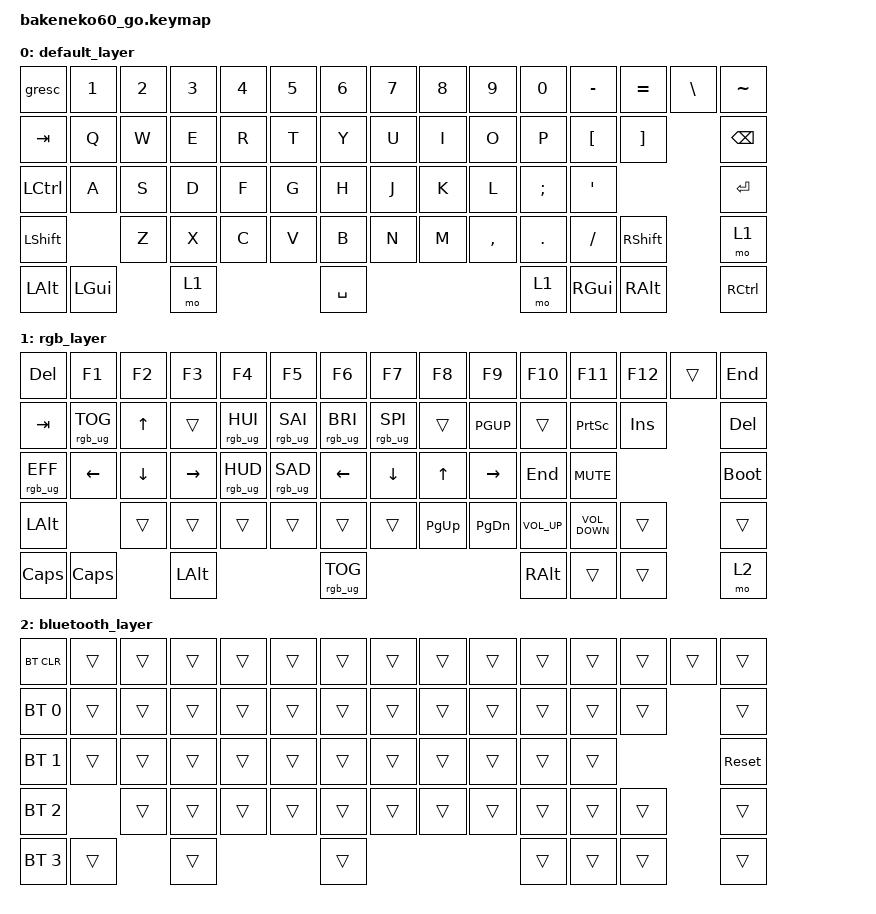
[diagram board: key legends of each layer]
/*
 * Copyright (c) 2023 Andrew Kannan
 *
 * SPDX-License-Identifier: MIT
 */

#include <behaviors.dtsi>
#include <dt-bindings/zmk/bt.h>
#include <dt-bindings/zmk/keys.h>
#include <dt-bindings/zmk/rgb.h>

/ {
    keymap {
        compatible = "zmk,keymap";

        default_layer {
            // ------------------------------------------------------------------------------------------
            // | ESC |  1  |  2  |  3  |  4  |  5  |  6  |  7  |  8  |  9  |  0  |  -  |  =  | BKSP|BKSP|
            // | TAB  |  Q  |  W  |  E  |  R  |  T  |  Y  |  U  |  I  |  O  |  P  |  [  |  ]  |   "|"   |
            // | CAPS  |  A  |  S  |  D  |  F  |  G  |  H  |  J  |  K  |  L  |  ;  |  '  |     ENTER    |
            // |  SHIFT  |  Z  |  X  |  C  |  V  |  B  |  N  |  M  |  ,  |  .  |  /  |  SHIFT  | MO(1)  |
            // |  CTL  |  WIN  |  ALT  |            SPACE              |  ALT  |  WIN  |  MO(1) |  CTL  |
            // ------------------------------------------------------------------------------------------

            bindings = <
&gresc        &kp N1    &kp N2  &kp N3  &kp N4  &kp N5  &kp N6     &kp N7  &kp N8  &kp N9     &kp N0    &kp MINUS  &kp EQUAL      &kp BACKSLASH  &kp TILDE
&kp TAB       &kp Q     &kp W   &kp E   &kp R   &kp T   &kp Y      &kp U   &kp I   &kp O      &kp P     &kp LBKT   &kp RBKT                      &kp BACKSPACE
&kp LCTRL     &kp A     &kp S   &kp D   &kp F   &kp G   &kp H      &kp J   &kp K   &kp L      &kp SEMI  &kp SQT                                  &kp RET
&kp LSHFT               &kp Z   &kp X   &kp C   &kp V   &kp B      &kp N   &kp M   &kp COMMA  &kp DOT   &kp FSLH   &kp RSHFT                     &mo 1
&kp LEFT_ALT  &kp LGUI          &mo 1                   &kp SPACE                             &mo 1     &kp RGUI   &kp RIGHT_ALT                 &kp RCTRL
            >;
        };

        rgb_layer {
            // ------------------------------------------------------------------------------------------------
            // |    `   | F1  | F2  | F3  | F4  | F5  | F6  | F7  | F8  | F9  | F10  | F11 | F12 |     | DEL  |
            // | EFCT REV|   |  UP |   | HUEUP | SATUP | BRIUP | SPDUP |      |  PGUP |    |     |    |       |
            // | EFCT FWD | LT |  DN  | RT | HUEDN | SATDN | BRIDN | SPDDN | HOME | PGDN | END  |  | BOOTLDR  |
            // |             |     |      |      |     |     |     |     |     |     |     |         |        |
            // |         |      |      |             TOG RGB                | PRT SCR |       |       |  MO(2)|
            // ------------------------------------------------------------------------------------------------

            bindings = <
&kp DELETE       &kp F1           &kp F2    &kp F3        &kp F4           &kp F5           &kp F6           &kp F7           &kp F8        &kp F9         &kp F10          &kp F11            &kp F12     &trans  &kp END
&kp TAB          &rgb_ug RGB_TOG  &kp UP    &trans        &rgb_ug RGB_HUI  &rgb_ug RGB_SAI  &rgb_ug RGB_BRI  &rgb_ug RGB_SPI  &trans        &kp PGUP       &trans           &kp PRINTSCREEN    &kp INSERT          &kp DELETE
&rgb_ug RGB_EFF  &kp LEFT         &kp DOWN  &kp RIGHT     &rgb_ug RGB_HUD  &rgb_ug RGB_SAD  &kp LEFT_ARROW   &kp DOWN_ARROW   &kp UP_ARROW  &kp RIGHT      &kp END          &kp K_MUTE                             &bootloader
&kp LEFT_ALT                      &trans    &trans        &trans           &trans           &trans           &trans           &kp PAGE_UP   &kp PAGE_DOWN  &kp C_VOLUME_UP  &kp C_VOLUME_DOWN  &trans              &trans
&kp CAPS         &kp CAPSLOCK               &kp LEFT_ALT                                    &rgb_ug RGB_TOG                                                &kp RIGHT_ALT    &trans             &trans              &mo 2
            >;
        };

        bluetooth_layer {
            // ------------------------------------------------------------------------------------------------
            // | BT CLR |     |     |     |     |     |     |     |     |     |     |    |    |       |       |
            // |  BT 1   |   |     |   |       |       |       |       |   |     |    |     |     |           |
            // |   BT 2   |    |      |    |       |       |       |       |      |      |      |  |   Reset  |
            // |    BT 3     |     |      |      |     |     |     |     |     |     |     |         |        |
            // |   BT 4  |      |      |                                    |         |       |       |       |
            // ------------------------------------------------------------------------------------------------

            bindings = <
&bt BT_CLR    &trans  &trans  &trans  &trans  &trans  &trans  &trans  &trans  &trans  &trans  &trans  &trans  &trans  &trans
&bt BT_SEL 0  &trans  &trans  &trans  &trans  &trans  &trans  &trans  &trans  &trans  &trans  &trans  &trans          &trans
&bt BT_SEL 1  &trans  &trans  &trans  &trans  &trans  &trans  &trans  &trans  &trans  &trans  &trans                  &sys_reset
&bt BT_SEL 2          &trans  &trans  &trans  &trans  &trans  &trans  &trans  &trans  &trans  &trans  &trans          &trans
&bt BT_SEL 3  &trans          &trans                  &trans                          &trans  &trans  &trans          &trans
            >;
        };
    };

    combos {
        compatible = "zmk,combos";

        combo_bt {
            timeout-ms = <50>;
            key-positions = <61 62>;
            bindings = <&mo 2>;
        };
    };
};
